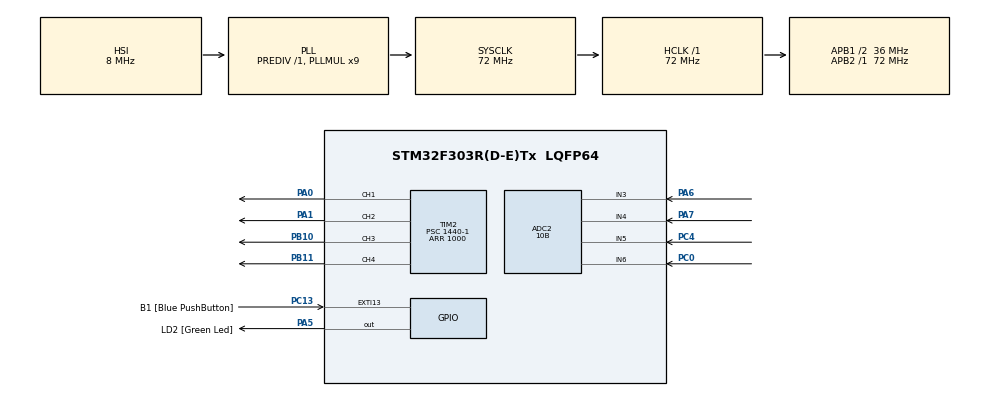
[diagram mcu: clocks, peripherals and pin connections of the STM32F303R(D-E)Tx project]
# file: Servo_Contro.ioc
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ADC2.Channel-0\#ChannelRegularConversion=ADC_CHANNEL_3
ADC2.Channel-1\#ChannelRegularConversion=ADC_CHANNEL_4
ADC2.Channel-2\#ChannelRegularConversion=ADC_CHANNEL_5
ADC2.Channel-3\#ChannelRegularConversion=ADC_CHANNEL_6
ADC2.ClockPrescaler=ADC_CLOCK_SYNC_PCLK_DIV2
ADC2.ContinuousConvMode=ENABLE
ADC2.DMAContinuousRequests=ENABLE
ADC2.NbrOfConversion=4
ADC2.NbrOfConversionFlag=1
ADC2.Offset-0\#ChannelRegularConversion=0
ADC2.Offset-1\#ChannelRegularConversion=0
ADC2.Offset-2\#ChannelRegularConversion=0
ADC2.Offset-3\#ChannelRegularConversion=0
ADC2.OffsetNumber-0\#ChannelRegularConversion=ADC_OFFSET_NONE
ADC2.OffsetNumber-1\#ChannelRegularConversion=ADC_OFFSET_NONE
ADC2.OffsetNumber-2\#ChannelRegularConversion=ADC_OFFSET_NONE
ADC2.OffsetNumber-3\#ChannelRegularConversion=ADC_OFFSET_NONE
ADC2.Rank-0\#ChannelRegularConversion=1
ADC2.Rank-1\#ChannelRegularConversion=2
ADC2.Rank-2\#ChannelRegularConversion=3
ADC2.Rank-3\#ChannelRegularConversion=4
ADC2.Resolution=ADC_RESOLUTION_10B
ADC2.SamplingTime-0\#ChannelRegularConversion=ADC_SAMPLETIME_181CYCLES_5
ADC2.SamplingTime-1\#ChannelRegularConversion=ADC_SAMPLETIME_181CYCLES_5
ADC2.SamplingTime-2\#ChannelRegularConversion=ADC_SAMPLETIME_181CYCLES_5
ADC2.SamplingTime-3\#ChannelRegularConversion=ADC_SAMPLETIME_181CYCLES_5
ADC2.SamplingTimeOPAMP-1\#ChannelRegularConversion=ADC_SAMPLETIME_19CYCLES_5
ADC2.SamplingTimeOPAMP-2\#ChannelRegularConversion=ADC_SAMPLETIME_19CYCLES_5
ADC2.SamplingTimeOPAMP-3\#ChannelRegularConversion=ADC_SAMPLETIME_19CYCLES_5
Dma.ADC2.0.Direction=DMA_PERIPH_TO_MEMORY
Dma.ADC2.0.Instance=DMA2_Channel1
Dma.ADC2.0.MemDataAlignment=DMA_MDATAALIGN_HALFWORD
Dma.ADC2.0.MemInc=DMA_MINC_ENABLE
Dma.ADC2.0.Mode=DMA_CIRCULAR
Dma.ADC2.0.PeriphDataAlignment=DMA_PDATAALIGN_HALFWORD
Dma.ADC2.0.PeriphInc=DMA_PINC_DISABLE
Dma.ADC2.0.Priority=DMA_PRIORITY_LOW
Dma.Request0=ADC2
Mcu.Family=STM32F3
Mcu.Name=STM32F303R(D-E)Tx
Mcu.Package=LQFP64
NVIC.DMA2_Channel1_IRQn=true\:0\:0\:false\:false\:true\:false\:true
NVIC.PriorityGroup=NVIC_PRIORITYGROUP_0
PA0.Signal=S_TIM2_CH1_ETR
PA1.Signal=S_TIM2_CH2
PA13.GPIO_Label=TMS
PA13.Signal=SYS_JTMS-SWDIO
PA14.GPIO_Label=TCK
PA14.Signal=SYS_JTCK-SWCLK
PA2.GPIO_Label=USART_TX
PA2.GPIO_Mode=GPIO_MODE_AF_PP
PA2.GPIO_PuPd=GPIO_NOPULL
PA2.GPIO_Speed=GPIO_SPEED_FREQ_LOW
PA2.Signal=USART2_TX
PA3.GPIO_Label=USART_RX
PA3.GPIO_Mode=GPIO_MODE_AF_PP
PA3.GPIO_PuPd=GPIO_NOPULL
PA3.GPIO_Speed=GPIO_SPEED_FREQ_LOW
PA3.Signal=USART2_RX
PA5.GPIO_Label=LD2 [Green Led]
PA5.GPIO_Mode=GPIO_MODE_OUTPUT_PP
PA5.GPIO_PuPd=GPIO_NOPULL
PA5.GPIO_Speed=GPIO_SPEED_FREQ_LOW
PA5.Signal=GPIO_Output
PA6.Mode=IN3-Single-Ended
PA6.Signal=ADC2_IN3
PA7.Mode=IN4-Single-Ended
PA7.Signal=ADC2_IN4
PB10.Signal=S_TIM2_CH3
PB11.Signal=S_TIM2_CH4
PB3.GPIO_Label=SWO
PB3.Signal=SYS_JTDO-TRACESWO
PC0.Signal=ADCx_IN6
PC13.GPIO_Label=B1 [Blue PushButton]
PC13.GPIO_ModeDefaultEXTI=GPIO_MODE_IT_FALLING
PC13.Signal=GPXTI13
PC14-OSC32_IN.Signal=RCC_OSC32_IN
PC15-OSC32_OUT.Signal=RCC_OSC32_OUT
PC4.Mode=IN5-Single-Ended
PC4.Signal=ADC2_IN5
PF0-OSC_IN.Signal=RCC_OSC_IN
PF1-OSC_OUT.Signal=RCC_OSC_OUT
ProjectManager.HeapSize=0x200
ProjectManager.StackSize=0x400
ProjectManager.TargetToolchain=STM32CubeIDE
RCC.AHBFreq_Value=72000000
RCC.APB1CLKDivider=RCC_HCLK_DIV2
RCC.APB1Freq_Value=36000000
RCC.APB1TimFreq_Value=72000000
RCC.APB2Freq_Value=72000000
RCC.APB2TimFreq_Value=72000000
RCC.CortexFreq_Value=72000000
RCC.HCLKFreq_Value=72000000
RCC.HSE_VALUE=8000000
RCC.HSI_VALUE=8000000
RCC.LSE_VALUE=32768
RCC.PLLM=8
RCC.PLLMUL=RCC_PLL_MUL9
RCC.PLLN=336
RCC.PLLP=RCC_PLLP_DIV4
RCC.PLLQ=7
RCC.RCC_PLLsource_Clock_Source_FROM_HSE=RCC_HSE_PREDIV_DIV2
RCC.SYSCLKFreq_VALUE=72000000
RCC.SYSCLKSourceVirtual=RCC_SYSCLKSOURCE_PLLCLK
RCC.USBFreq_Value=72000000
SH.ADCx_IN6.0=ADC2_IN6,IN6-Single-Ended
SH.S_TIM2_CH1_ETR.0=TIM2_CH1,PWM Generation1 CH1
SH.S_TIM2_CH2.0=TIM2_CH2,PWM Generation2 CH2
SH.S_TIM2_CH3.0=TIM2_CH3,PWM Generation3 CH3
SH.S_TIM2_CH4.0=TIM2_CH4,PWM Generation4 CH4
TIM2.Channel-PWM\ Generation1\ CH1=TIM_CHANNEL_1
TIM2.Channel-PWM\ Generation2\ CH2=TIM_CHANNEL_2
TIM2.Channel-PWM\ Generation3\ CH3=TIM_CHANNEL_3
TIM2.Channel-PWM\ Generation4\ CH4=TIM_CHANNEL_4
TIM2.Period=1000
TIM2.Prescaler=1440-1
VP_TIM2_VS_ClockSourceINT.Mode=Internal
board=NUCLEO-F303RE

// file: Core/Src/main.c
/* USER CODE BEGIN Header */
/**
  ******************************************************************************
  * @file           : main.c
  * @brief          : Main program body
  ******************************************************************************
  * @attention
  *
  * <h2><center>&copy; Copyright (c) 2020 STMicroelectronics.
  * All rights reserved.</center></h2>
  *
  * This software component is licensed by ST under BSD 3-Clause license,
  * the "License"; You may not use this file except in compliance with the
  * License. You may obtain a copy of the License at:
  *                        opensource.org/licenses/BSD-3-Clause
  *
  ******************************************************************************
  */
/* USER CODE END Header */
#include "main.h"

/* USER CODE BEGIN Includes */
uint16_t adc_value[5];
uint16_t duty[4] = {20,20,20,20};
/* USER CODE END Includes */

ADC_HandleTypeDef hadc2;
DMA_HandleTypeDef hdma_adc2;

TIM_HandleTypeDef htim2;

void SystemClock_Config(void);
static void MX_GPIO_Init(void);
static void MX_DMA_Init(void);
static void MX_TIM2_Init(void);
static void MX_ADC2_Init(void);

/* USER CODE BEGIN 0 */
void HAL_ADC_ConvCpltCallback(ADC_HandleTypeDef* hadc)
{

	if (adc_value[0] < 400 && adc_value[0] >= 0 && duty[0] > 20) {
		duty[0]--;

	} else if (adc_value[0] < 700 && adc_value[0] > 450) {

	} else if (adc_value[0] < 1100 && adc_value[0] > 750 && duty[0] < 100) {
		duty[0]++;

	}
	if (adc_value[1] < 400 && adc_value[1] >= 0 && duty[1] > 20) {
		duty[1]--;

	} else if (adc_value[1] < 700 && adc_value[1] > 450) {

	} else if (adc_value[1] < 1100 && adc_value[1] > 750 && duty[1] < 100) {
		duty[1]++;

	}
	if (adc_value[2] < 400 && adc_value[2] >= 0 && duty[2] > 20) {
		duty[2]--;

	} else if (adc_value[2] < 700 && adc_value[2] > 450) {

	} else if (adc_value[2] < 1100 && adc_value[2] > 750 && duty[2] < 100) {
		duty[2]++;

	}
	if (adc_value[3] < 400 && adc_value[3] >= 0 && duty[3] > 20) {
		duty[3]--;

	} else if (adc_value[3] < 700 && adc_value[3] > 450) {

	} else if (adc_value[3] < 1100 && adc_value[3] > 750 && duty[3] < 100) {
		duty[3]++;

	}

}

void Duty_value(void)
{
	htim2.Instance->CCR1 = duty[0];

	htim2.Instance->CCR2 = duty[1];

	htim2.Instance->CCR3 = duty[2];

	htim2.Instance->CCR4 = duty[3];

	}
/* USER CODE END 0 */

int main(void)
{

  /* MCU Configuration--------------------------------------------------------*/

  /* Reset of all peripherals, Initializes the Flash interface and the Systick. */
  HAL_Init();

  /* Configure the system clock */
  SystemClock_Config();

  /* Initialize all configured peripherals */
  MX_GPIO_Init();
  MX_DMA_Init();
  MX_TIM2_Init();
  MX_ADC2_Init();
  /* USER CODE BEGIN 2 */
  HAL_TIM_PWM_Start(&htim2, TIM_CHANNEL_1);
  HAL_TIM_PWM_Start(&htim2, TIM_CHANNEL_2);
  HAL_TIM_PWM_Start(&htim2, TIM_CHANNEL_3);
  HAL_TIM_PWM_Start(&htim2, TIM_CHANNEL_4);
  HAL_ADC_Start_DMA(&hadc2, (uint32_t*)adc_value, 4);
  /* USER CODE END 2 */

  /* Infinite loop */
  while (1)
  {

    /* USER CODE BEGIN 3 */
/*	 htim2.Instance->CCR1 = 190;
	 HAL_Delay(3000);	*/

 	 /* Min açı = 28 */
 	 /* Max açı = 100 */

	  Duty_value();
	  HAL_Delay(100);
  }
  /* USER CODE END 3 */
}

void SystemClock_Config(void)
{
  RCC_OscInitTypeDef RCC_OscInitStruct = {0};
  RCC_ClkInitTypeDef RCC_ClkInitStruct = {0};
  RCC_PeriphCLKInitTypeDef PeriphClkInit = {0};

  /** Initializes the RCC Oscillators according to the specified parameters
  * in the RCC_OscInitTypeDef structure.
  */
  RCC_OscInitStruct.OscillatorType = RCC_OSCILLATORTYPE_HSI;
  RCC_OscInitStruct.HSIState = RCC_HSI_ON;
  RCC_OscInitStruct.HSICalibrationValue = RCC_HSICALIBRATION_DEFAULT;
  RCC_OscInitStruct.PLL.PLLState = RCC_PLL_ON;
  RCC_OscInitStruct.PLL.PLLSource = RCC_PLLSOURCE_HSI;
  RCC_OscInitStruct.PLL.PLLMUL = RCC_PLL_MUL9;
  RCC_OscInitStruct.PLL.PREDIV = RCC_PREDIV_DIV1;
  if (HAL_RCC_OscConfig(&RCC_OscInitStruct) != HAL_OK)
  {
    Error_Handler();
  }
  /** Initializes the CPU, AHB and APB buses clocks
  */
  RCC_ClkInitStruct.ClockType = RCC_CLOCKTYPE_HCLK|RCC_CLOCKTYPE_SYSCLK
                              |RCC_CLOCKTYPE_PCLK1|RCC_CLOCKTYPE_PCLK2;
  RCC_ClkInitStruct.SYSCLKSource = RCC_SYSCLKSOURCE_PLLCLK;
  RCC_ClkInitStruct.AHBCLKDivider = RCC_SYSCLK_DIV1;
  RCC_ClkInitStruct.APB1CLKDivider = RCC_HCLK_DIV2;
  RCC_ClkInitStruct.APB2CLKDivider = RCC_HCLK_DIV1;

  if (HAL_RCC_ClockConfig(&RCC_ClkInitStruct, FLASH_LATENCY_2) != HAL_OK)
  {
    Error_Handler();
  }
  PeriphClkInit.PeriphClockSelection = RCC_PERIPHCLK_TIM2;
  PeriphClkInit.Tim2ClockSelection = RCC_TIM2CLK_HCLK;
  if (HAL_RCCEx_PeriphCLKConfig(&PeriphClkInit) != HAL_OK)
  {
    Error_Handler();
  }
}

static void MX_ADC2_Init(void)
{

  ADC_ChannelConfTypeDef sConfig = {0};

  /** Common config
  */
  hadc2.Instance = ADC2;
  hadc2.Init.ClockPrescaler = ADC_CLOCK_SYNC_PCLK_DIV2;
  hadc2.Init.Resolution = ADC_RESOLUTION_10B;
  hadc2.Init.ScanConvMode = ADC_SCAN_ENABLE;
  hadc2.Init.ContinuousConvMode = ENABLE;
  hadc2.Init.DiscontinuousConvMode = DISABLE;
  hadc2.Init.ExternalTrigConvEdge = ADC_EXTERNALTRIGCONVEDGE_NONE;
  hadc2.Init.ExternalTrigConv = ADC_SOFTWARE_START;
  hadc2.Init.DataAlign = ADC_DATAALIGN_RIGHT;
  hadc2.Init.NbrOfConversion = 4;
  hadc2.Init.DMAContinuousRequests = ENABLE;
  hadc2.Init.EOCSelection = ADC_EOC_SINGLE_CONV;
  hadc2.Init.LowPowerAutoWait = DISABLE;
  hadc2.Init.Overrun = ADC_OVR_DATA_OVERWRITTEN;
  if (HAL_ADC_Init(&hadc2) != HAL_OK)
  {
    Error_Handler();
  }
  /** Configure Regular Channel
  */
  sConfig.Channel = ADC_CHANNEL_3;
  sConfig.Rank = ADC_REGULAR_RANK_1;
  sConfig.SingleDiff = ADC_SINGLE_ENDED;
  sConfig.SamplingTime = ADC_SAMPLETIME_181CYCLES_5;
  sConfig.OffsetNumber = ADC_OFFSET_NONE;
  sConfig.Offset = 0;
  if (HAL_ADC_ConfigChannel(&hadc2, &sConfig) != HAL_OK)
  {
    Error_Handler();
  }
  /** Configure Regular Channel
  */
  sConfig.Channel = ADC_CHANNEL_4;
  sConfig.Rank = ADC_REGULAR_RANK_2;
  if (HAL_ADC_ConfigChannel(&hadc2, &sConfig) != HAL_OK)
  {
    Error_Handler();
  }
  /** Configure Regular Channel
  */
  sConfig.Channel = ADC_CHANNEL_5;
  sConfig.Rank = ADC_REGULAR_RANK_3;
  if (HAL_ADC_ConfigChannel(&hadc2, &sConfig) != HAL_OK)
  {
    Error_Handler();
  }
  /** Configure Regular Channel
  */
  sConfig.Channel = ADC_CHANNEL_6;
  sConfig.Rank = ADC_REGULAR_RANK_4;
  if (HAL_ADC_ConfigChannel(&hadc2, &sConfig) != HAL_OK)
  {
    Error_Handler();
  }

}

static void MX_TIM2_Init(void)
{

  TIM_ClockConfigTypeDef sClockSourceConfig = {0};
  TIM_MasterConfigTypeDef sMasterConfig = {0};
  TIM_OC_InitTypeDef sConfigOC = {0};

  htim2.Instance = TIM2;
  htim2.Init.Prescaler = 1440-1;
  htim2.Init.CounterMode = TIM_COUNTERMODE_UP;
  htim2.Init.Period = 1000;
  htim2.Init.ClockDivision = TIM_CLOCKDIVISION_DIV1;
  htim2.Init.AutoReloadPreload = TIM_AUTORELOAD_PRELOAD_DISABLE;
  if (HAL_TIM_Base_Init(&htim2) != HAL_OK)
  {
    Error_Handler();
  }
  sClockSourceConfig.ClockSource = TIM_CLOCKSOURCE_INTERNAL;
  if (HAL_TIM_ConfigClockSource(&htim2, &sClockSourceConfig) != HAL_OK)
  {
    Error_Handler();
  }
  if (HAL_TIM_PWM_Init(&htim2) != HAL_OK)
  {
    Error_Handler();
  }
  sMasterConfig.MasterOutputTrigger = TIM_TRGO_RESET;
  sMasterConfig.MasterSlaveMode = TIM_MASTERSLAVEMODE_DISABLE;
  if (HAL_TIMEx_MasterConfigSynchronization(&htim2, &sMasterConfig) != HAL_OK)
  {
    Error_Handler();
  }
  sConfigOC.OCMode = TIM_OCMODE_PWM1;
  sConfigOC.Pulse = 0;
  sConfigOC.OCPolarity = TIM_OCPOLARITY_HIGH;
  sConfigOC.OCFastMode = TIM_OCFAST_DISABLE;
  if (HAL_TIM_PWM_ConfigChannel(&htim2, &sConfigOC, TIM_CHANNEL_1) != HAL_OK)
  {
    Error_Handler();
  }
  if (HAL_TIM_PWM_ConfigChannel(&htim2, &sConfigOC, TIM_CHANNEL_2) != HAL_OK)
  {
    Error_Handler();
  }
  if (HAL_TIM_PWM_ConfigChannel(&htim2, &sConfigOC, TIM_CHANNEL_3) != HAL_OK)
  {
    Error_Handler();
  }
  if (HAL_TIM_PWM_ConfigChannel(&htim2, &sConfigOC, TIM_CHANNEL_4) != HAL_OK)
  {
    Error_Handler();
  }
  HAL_TIM_MspPostInit(&htim2);

}

static void MX_DMA_Init(void)
{

  /* DMA controller clock enable */
  __HAL_RCC_DMA2_CLK_ENABLE();

  /* DMA interrupt init */
  /* DMA2_Channel1_IRQn interrupt configuration */
  HAL_NVIC_SetPriority(DMA2_Channel1_IRQn, 0, 0);
  HAL_NVIC_EnableIRQ(DMA2_Channel1_IRQn);

}

static void MX_GPIO_Init(void)
{
  GPIO_InitTypeDef GPIO_InitStruct = {0};

  /* GPIO Ports Clock Enable */
  __HAL_RCC_GPIOC_CLK_ENABLE();
  __HAL_RCC_GPIOF_CLK_ENABLE();
  __HAL_RCC_GPIOA_CLK_ENABLE();
  __HAL_RCC_GPIOB_CLK_ENABLE();

  /*Configure GPIO pin Output Level */
  HAL_GPIO_WritePin(LD2_GPIO_Port, LD2_Pin, GPIO_PIN_RESET);

  /*Configure GPIO pin : B1_Pin */
  GPIO_InitStruct.Pin = B1_Pin;
  GPIO_InitStruct.Mode = GPIO_MODE_IT_FALLING;
  GPIO_InitStruct.Pull = GPIO_NOPULL;
  HAL_GPIO_Init(B1_GPIO_Port, &GPIO_InitStruct);

  /*Configure GPIO pins : USART_TX_Pin USART_RX_Pin */
  GPIO_InitStruct.Pin = USART_TX_Pin|USART_RX_Pin;
  GPIO_InitStruct.Mode = GPIO_MODE_AF_PP;
  GPIO_InitStruct.Pull = GPIO_NOPULL;
  GPIO_InitStruct.Speed = GPIO_SPEED_FREQ_LOW;
  GPIO_InitStruct.Alternate = GPIO_AF7_USART2;
  HAL_GPIO_Init(GPIOA, &GPIO_InitStruct);

  /*Configure GPIO pin : LD2_Pin */
  GPIO_InitStruct.Pin = LD2_Pin;
  GPIO_InitStruct.Mode = GPIO_MODE_OUTPUT_PP;
  GPIO_InitStruct.Pull = GPIO_NOPULL;
  GPIO_InitStruct.Speed = GPIO_SPEED_FREQ_LOW;
  HAL_GPIO_Init(LD2_GPIO_Port, &GPIO_InitStruct);

}

void Error_Handler(void)
{
}

/************************ (C) COPYRIGHT STMicroelectronics *****END OF FILE****/
